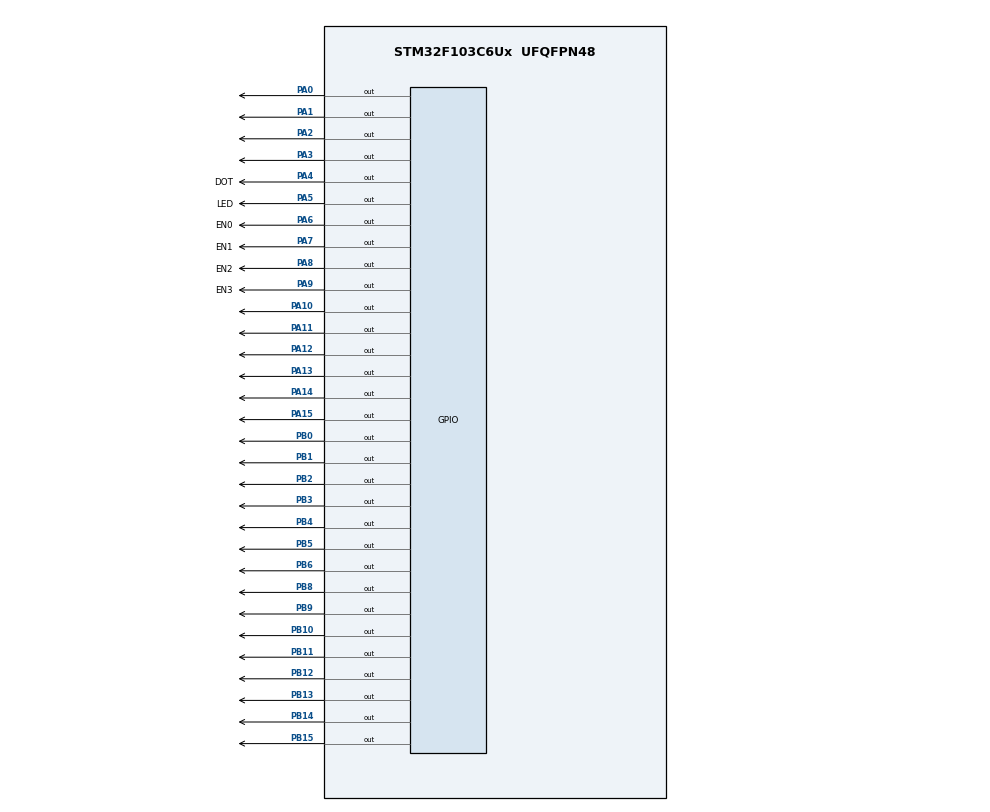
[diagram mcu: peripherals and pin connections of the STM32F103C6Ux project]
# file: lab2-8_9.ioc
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Mcu.Family=STM32F1
Mcu.Name=STM32F103C6Ux
Mcu.Package=UFQFPN48
NVIC.PriorityGroup=NVIC_PRIORITYGROUP_4
NVIC.TIM2_IRQn=true\:0\:0\:false\:false\:true\:true\:true
PA0-WKUP.Signal=GPIO_Output
PA1.Signal=GPIO_Output
PA10.Signal=GPIO_Output
PA11.Signal=GPIO_Output
PA12.Signal=GPIO_Output
PA13.Signal=GPIO_Output
PA14.Signal=GPIO_Output
PA15.Signal=GPIO_Output
PA2.Signal=GPIO_Output
PA3.Signal=GPIO_Output
PA4.GPIO_Label=DOT
PA4.PinState=GPIO_PIN_SET
PA4.Signal=GPIO_Output
PA5.GPIO_Label=LED
PA5.PinState=GPIO_PIN_SET
PA5.Signal=GPIO_Output
PA6.GPIO_Label=EN0
PA6.PinState=GPIO_PIN_SET
PA6.Signal=GPIO_Output
PA7.GPIO_Label=EN1
PA7.PinState=GPIO_PIN_SET
PA7.Signal=GPIO_Output
PA8.GPIO_Label=EN2
PA8.PinState=GPIO_PIN_SET
PA8.Signal=GPIO_Output
PA9.GPIO_Label=EN3
PA9.PinState=GPIO_PIN_SET
PA9.Signal=GPIO_Output
PB0.PinState=GPIO_PIN_SET
PB0.Signal=GPIO_Output
PB1.PinState=GPIO_PIN_SET
PB1.Signal=GPIO_Output
PB10.Signal=GPIO_Output
PB11.Signal=GPIO_Output
PB12.Signal=GPIO_Output
PB13.Signal=GPIO_Output
PB14.Signal=GPIO_Output
PB15.Signal=GPIO_Output
PB2.PinState=GPIO_PIN_SET
PB2.Signal=GPIO_Output
PB3.PinState=GPIO_PIN_SET
PB3.Signal=GPIO_Output
PB4.PinState=GPIO_PIN_SET
PB4.Signal=GPIO_Output
PB5.PinState=GPIO_PIN_SET
PB5.Signal=GPIO_Output
PB6.PinState=GPIO_PIN_SET
PB6.Signal=GPIO_Output
PB8.Signal=GPIO_Output
PB9.Signal=GPIO_Output
ProjectManager.HeapSize=0x200
ProjectManager.StackSize=0x400
ProjectManager.TargetToolchain=STM32CubeIDE
RCC.APB1Freq_Value=8000000
RCC.APB2Freq_Value=8000000
TIM2.Period=9
TIM2.Prescaler=7999
VP_SYS_VS_ND.Mode=No_Debug
VP_TIM2_VS_ClockSourceINT.Mode=Internal
board=custom

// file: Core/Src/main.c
/* USER CODE BEGIN Header */
/**
  ******************************************************************************
  * @file           : main.c
  * @brief          : Lab 2 - Exercises 9 and 10
  ******************************************************************************
  * @attention
  *
  * <h2><center>&copy; Copyright (c) 2026 STMicroelectronics.
  * All rights reserved.</center></h2>
  *
  * This software component is licensed by ST under BSD 3-Clause license,
  * the "License"; You may not use this file except in compliance with the
  * License. You may obtain a copy of the License at:
  *                        opensource.org/licenses/BSD-3-Clause
  *
  ******************************************************************************
  */
/* USER CODE END Header */

#include "main.h"

/* USER CODE BEGIN PTD */

enum
{
  TIMER_CLOCK = 0,
  TIMER_7SEG,
  TIMER_MATRIX,
  TIMER_ANIMATION,
  TIMER_COUNT
};

/* USER CODE END PTD */

/* USER CODE BEGIN PD */

/* 9: static A; 10: circular left scrolling */
#define LAB_TASK              10

#if LAB_TASK != 9 && LAB_TASK != 10
#error "LAB_TASK must be 9 or 10"
#endif

/* TIM2 interrupt period */
#define TIMER_CYCLE_MS        10U

#define CLOCK_PERIOD_MS       1000U
#define SEG_SCAN_PERIOD_MS    250U
#define MATRIX_SCAN_MS        10U
#define ANIMATION_PERIOD_MS   400U

#define MAX_LED               4
#define MAX_LED_MATRIX        8

/* DOT = PA4; separate LED = PA5 */
#define DOT_PIN               GPIO_PIN_4
#define STATUS_LED_PIN        GPIO_PIN_5

/* Seven-segment enables: PA6-PA9 */
#define SEG_ENABLE_PINS       (GPIO_PIN_6 | GPIO_PIN_7 | \
                               GPIO_PIN_8 | GPIO_PIN_9)

/* Seven-segment a-g: PB0-PB6 */
#define SEGMENT_PINS          (GPIO_PIN_0 | GPIO_PIN_1 | \
                               GPIO_PIN_2 | GPIO_PIN_3 | \
                               GPIO_PIN_4 | GPIO_PIN_5 | \
                               GPIO_PIN_6)

/*
 * Matrix controls match the reference schematic:
 * ENM0 = PA2
 * ENM1 = PA3
 * ENM2 = PA10
 * ENM3 = PA11
 * ENM4 = PA12
 * ENM5 = PA13
 * ENM6 = PA14
 * ENM7 = PA15
 */
#define MATRIX_ENABLE_PINS    (GPIO_PIN_2  | GPIO_PIN_3  | \
                               GPIO_PIN_10 | GPIO_PIN_11 | \
                               GPIO_PIN_12 | GPIO_PIN_13 | \
                               GPIO_PIN_14 | GPIO_PIN_15)

/* ROW0-ROW7: PB8-PB15 */
#define MATRIX_ROW_PINS       (GPIO_PIN_8  | GPIO_PIN_9  | \
                               GPIO_PIN_10 | GPIO_PIN_11 | \
                               GPIO_PIN_12 | GPIO_PIN_13 | \
                               GPIO_PIN_14 | GPIO_PIN_15)

/* USER CODE END PD */

TIM_HandleTypeDef htim2;

/* USER CODE BEGIN PV */

/* Shared between main and TIM2 interrupt */
static volatile uint32_t timer_counter[TIMER_COUNT] = {0};
static volatile uint8_t timer_flag[TIMER_COUNT] = {0};

/* Bit 0 = a, ..., bit 6 = g */
static const uint8_t digitPattern[10] =
{
  0x3F, /* 0 */
  0x06, /* 1 */
  0x5B, /* 2 */
  0x4F, /* 3 */
  0x66, /* 4 */
  0x6D, /* 5 */
  0x7D, /* 6 */
  0x07, /* 7 */
  0x7F, /* 8 */
  0x6F  /* 9 */
};

static const uint16_t enablePin[MAX_LED] =
{
  GPIO_PIN_6,
  GPIO_PIN_7,
  GPIO_PIN_8,
  GPIO_PIN_9
};

int led_buffer[MAX_LED] = {1, 5, 0, 8};
int index_led = 0;

int hour = 15;
int minute = 8;
int second = 50;

/* ENM0-ENM7 in schematic order */
static const uint16_t matrixEnablePin[MAX_LED_MATRIX] =
{
  GPIO_PIN_2,
  GPIO_PIN_3,
  GPIO_PIN_10,
  GPIO_PIN_11,
  GPIO_PIN_12,
  GPIO_PIN_13,
  GPIO_PIN_14,
  GPIO_PIN_15
};

/*
 * Letter A stored by COLUMN.
 * Bit 0 = top row (ROW0).
 * COL0 = leftmost column.
 *
 * ...##...
 * ..#..#..
 * .#....#.
 * .#....#.
 * .######.
 * .#....#.
 * .#....#.
 * ........
 *
 * A set bit means the pixel should light.
 */
static const uint8_t letterA[MAX_LED_MATRIX] =
{
  0x00, 0x7C, 0x12, 0x11,
  0x11, 0x12, 0x7C, 0x00
};

uint8_t matrix_buffer[MAX_LED_MATRIX] = {0};
int index_led_matrix = 0;

#if LAB_TASK == 10
static uint8_t animation_offset = 0U;
static uint8_t animation_pending = 0U;
#endif

/* USER CODE END PV */

void SystemClock_Config(void);
static void MX_GPIO_Init(void);
static void MX_TIM2_Init(void);

/* USER CODE BEGIN PFP */

static void setSoftwareTimer(uint8_t id, uint32_t duration_ms);
void timer_run(void);

void display7SEG(int num);
void update7SEG(int index);
void updateClockBuffer(void);
static void advanceClockOneSecond(void);

void updateLEDMatrix(int index);
static void loadMatrixFrame(uint8_t offset);

/* USER CODE END PFP */

/* USER CODE BEGIN 0 */

/* ---------------- Software timers ---------------- */

static void setSoftwareTimer(uint8_t id, uint32_t duration_ms)
{
  if (id >= TIMER_COUNT)
  {
    return;
  }

  uint32_t savedPrimask = __get_PRIMASK();
  __disable_irq();

  timer_counter[id] = duration_ms / TIMER_CYCLE_MS;

  /* Minimum timeout: one hardware timer tick */
  if (timer_counter[id] == 0U)
  {
    timer_counter[id] = 1U;
  }

  timer_flag[id] = 0U;

  __set_PRIMASK(savedPrimask);
}

void timer_run(void)
{
  for (uint8_t i = 0U; i < TIMER_COUNT; i++)
  {
    if (timer_counter[i] > 0U)
    {
      timer_counter[i]--;

      if (timer_counter[i] == 0U)
      {
        timer_flag[i] = 1U;
      }
    }
  }
}

/* ---------------- Seven-segment display ---------------- */

void display7SEG(int num)
{
  /* Common anode: HIGH turns segments OFF */
  HAL_GPIO_WritePin(GPIOB,
                   SEGMENT_PINS,
                   GPIO_PIN_SET);

  if (num < 0 || num > 9)
  {
    return;
  }

  /* LOW turns selected segments ON */
  HAL_GPIO_WritePin(GPIOB,
                   (uint16_t)digitPattern[num],
                   GPIO_PIN_RESET);
}

void update7SEG(int index)
{
  /* Disable all digits before changing data */
  HAL_GPIO_WritePin(GPIOA,
                   SEG_ENABLE_PINS,
                   GPIO_PIN_SET);

  if (index < 0 || index >= MAX_LED)
  {
    return;
  }

  display7SEG(led_buffer[index]);

  /* PNP control: LOW enables the selected digit */
  HAL_GPIO_WritePin(GPIOA,
                   enablePin[index],
                   GPIO_PIN_RESET);
}

void updateClockBuffer(void)
{
  /* Display processing runs entirely in main */
  led_buffer[0] = hour / 10;
  led_buffer[1] = hour % 10;
  led_buffer[2] = minute / 10;
  led_buffer[3] = minute % 10;
}

static void advanceClockOneSecond(void)
{
  second++;

  if (second >= 60)
  {
    second = 0;
    minute++;
  }

  if (minute >= 60)
  {
    minute = 0;
    hour++;
  }

  if (hour >= 24)
  {
    hour = 0;
  }

  updateClockBuffer();
}

/* ---------------- LED matrix ---------------- */

static void loadMatrixFrame(uint8_t offset)
{
  /*
   * Circular left shift:
   * columns leaving the left edge reappear on the right.
   *
   * offset 0: original centered A
   * offset 1: rotate left by one column
   * ...
   * offset 7: rotate left by seven columns
   */
  for (int column = 0; column < MAX_LED_MATRIX; column++)
  {
    int source = (column + offset) % MAX_LED_MATRIX;
    matrix_buffer[column] = letterA[source];
  }
}

void updateLEDMatrix(int index)
{
  /*
   * Matrix polarity:
   * Column HIGH + Row LOW = LED ON.
   *
   * ULN2803 column control:
   * MCU HIGH -> output LOW -> column disabled.
   * MCU LOW  -> output released -> external pull-up
   *             raises the column -> column enabled.
   */

  /* Disable every column before changing row data */
  HAL_GPIO_WritePin(GPIOA,
                   MATRIX_ENABLE_PINS,
                   GPIO_PIN_SET);

  /* All rows inactive */
  HAL_GPIO_WritePin(GPIOB,
                   MATRIX_ROW_PINS,
                   GPIO_PIN_SET);

  if (index < 0 || index >= MAX_LED_MATRIX)
  {
    return;
  }

  /* Map buffer bits 0-7 to PB8-PB15 */
  uint16_t rowData =
      (uint16_t)((uint16_t)matrix_buffer[index] << 8);

  /* Pull rows for illuminated pixels LOW */
  if (rowData != 0U)
  {
    HAL_GPIO_WritePin(GPIOB,
                     rowData,
                     GPIO_PIN_RESET);
  }

  /* Enable only this column */
  HAL_GPIO_WritePin(GPIOA,
                   matrixEnablePin[index],
                   GPIO_PIN_RESET);
}

/* USER CODE END 0 */

int main(void)
{

  /* MCU Configuration--------------------------------------------------------*/

  HAL_Init();

  SystemClock_Config();

  /* USER CODE BEGIN SysInit */

  /*
   * Release PA13, PA14, PA15, PB3 and PB4.
   * The reference schematic uses PA13/PA14 for the matrix,
   * so both JTAG and SWD must be disabled.
   */
  __HAL_RCC_AFIO_CLK_ENABLE();
  __HAL_AFIO_REMAP_SWJ_DISABLE();

  /* USER CODE END SysInit */

  /* Initialize all configured peripherals */
  MX_GPIO_Init();
  MX_TIM2_Init();

  /* USER CODE BEGIN 2 */

  /* Initially disable seven-segment digits and DOT */
  HAL_GPIO_WritePin(GPIOA,
                   SEG_ENABLE_PINS | DOT_PIN,
                   GPIO_PIN_SET);

  /* Turn D1 ON to indicate that initialization is complete */
  HAL_GPIO_WritePin(GPIOA,
                   STATUS_LED_PIN,
                   GPIO_PIN_RESET);

  HAL_GPIO_WritePin(GPIOB,
                   SEGMENT_PINS,
                   GPIO_PIN_SET);

  /* Initially disable matrix columns and rows */
  HAL_GPIO_WritePin(GPIOA,
                   MATRIX_ENABLE_PINS,
                   GPIO_PIN_SET);

  HAL_GPIO_WritePin(GPIOB,
                   MATRIX_ROW_PINS,
                   GPIO_PIN_SET);

  updateClockBuffer();

  /* Start with the complete A centered */
  loadMatrixFrame(0U);

  update7SEG(0);
  index_led = 1;

  updateLEDMatrix(0);
  index_led_matrix = 1;

  setSoftwareTimer(TIMER_CLOCK, CLOCK_PERIOD_MS);
  setSoftwareTimer(TIMER_7SEG, SEG_SCAN_PERIOD_MS);
  setSoftwareTimer(TIMER_MATRIX, MATRIX_SCAN_MS);

#if LAB_TASK == 10
  setSoftwareTimer(TIMER_ANIMATION, ANIMATION_PERIOD_MS);
#endif

  /* Clear any pending update event before starting TIM2 */
  __HAL_TIM_SET_COUNTER(&htim2, 0U);
  __HAL_TIM_CLEAR_FLAG(&htim2, TIM_FLAG_UPDATE);

  if (HAL_TIM_Base_Start_IT(&htim2) != HAL_OK)
  {
    Error_Handler();
  }

  /* USER CODE END 2 */

  /* Infinite loop */
  while (1)
  {

    /* USER CODE BEGIN 3 */

    /* Clock and DOT event */
    if (timer_flag[TIMER_CLOCK] == 1U)
    {
      setSoftwareTimer(TIMER_CLOCK, CLOCK_PERIOD_MS);

      advanceClockOneSecond();
      HAL_GPIO_TogglePin(GPIOA, DOT_PIN);
    }

    /* Seven-segment scanning event */
    if (timer_flag[TIMER_7SEG] == 1U)
    {
      setSoftwareTimer(TIMER_7SEG, SEG_SCAN_PERIOD_MS);

      update7SEG(index_led);
      index_led = (index_led + 1) % MAX_LED;
    }

#if LAB_TASK == 10
    /* Request the next circular scrolling frame */
    if (timer_flag[TIMER_ANIMATION] == 1U)
    {
      setSoftwareTimer(TIMER_ANIMATION, ANIMATION_PERIOD_MS);
      animation_pending = 1U;
    }
#endif

    /* Matrix scanning event */
    if (timer_flag[TIMER_MATRIX] == 1U)
    {
      setSoftwareTimer(TIMER_MATRIX, MATRIX_SCAN_MS);

#if LAB_TASK == 10
      /*
       * Apply a new frame before scanning column 0.
       * All eight columns in a scan then use the same frame.
       */
      if (index_led_matrix == 0 && animation_pending == 1U)
      {
        animation_pending = 0U;

        animation_offset =
            (animation_offset + 1U) % MAX_LED_MATRIX;

        loadMatrixFrame(animation_offset);
      }
#endif

      updateLEDMatrix(index_led_matrix);

      index_led_matrix =
          (index_led_matrix + 1) % MAX_LED_MATRIX;
    }
  }
  /* USER CODE END 3 */
}

void SystemClock_Config(void)
{
  RCC_OscInitTypeDef RCC_OscInitStruct = {0};
  RCC_ClkInitTypeDef RCC_ClkInitStruct = {0};

  /** Initializes the RCC Oscillators
  */
  RCC_OscInitStruct.OscillatorType = RCC_OSCILLATORTYPE_HSI;
  RCC_OscInitStruct.HSIState = RCC_HSI_ON;
  RCC_OscInitStruct.HSICalibrationValue =
      RCC_HSICALIBRATION_DEFAULT;
  RCC_OscInitStruct.PLL.PLLState = RCC_PLL_NONE;

  if (HAL_RCC_OscConfig(&RCC_OscInitStruct) != HAL_OK)
  {
    Error_Handler();
  }

  /** Initializes the CPU, AHB and APB buses clocks
  */
  RCC_ClkInitStruct.ClockType =
      RCC_CLOCKTYPE_HCLK |
      RCC_CLOCKTYPE_SYSCLK |
      RCC_CLOCKTYPE_PCLK1 |
      RCC_CLOCKTYPE_PCLK2;

  RCC_ClkInitStruct.SYSCLKSource = RCC_SYSCLKSOURCE_HSI;
  RCC_ClkInitStruct.AHBCLKDivider = RCC_SYSCLK_DIV1;
  RCC_ClkInitStruct.APB1CLKDivider = RCC_HCLK_DIV1;
  RCC_ClkInitStruct.APB2CLKDivider = RCC_HCLK_DIV1;

  if (HAL_RCC_ClockConfig(&RCC_ClkInitStruct,
                         FLASH_LATENCY_0) != HAL_OK)
  {
    Error_Handler();
  }
}

static void MX_TIM2_Init(void)
{

  TIM_ClockConfigTypeDef sClockSourceConfig = {0};
  TIM_MasterConfigTypeDef sMasterConfig = {0};

  /* 8 MHz / (7999 + 1) / (9 + 1) = 100 Hz */
  htim2.Instance = TIM2;
  htim2.Init.Prescaler = 7999;
  htim2.Init.CounterMode = TIM_COUNTERMODE_UP;
  htim2.Init.Period = 9;
  htim2.Init.ClockDivision = TIM_CLOCKDIVISION_DIV1;
  htim2.Init.AutoReloadPreload = TIM_AUTORELOAD_PRELOAD_DISABLE;

  if (HAL_TIM_Base_Init(&htim2) != HAL_OK)
  {
    Error_Handler();
  }

  sClockSourceConfig.ClockSource = TIM_CLOCKSOURCE_INTERNAL;

  if (HAL_TIM_ConfigClockSource(&htim2,
                               &sClockSourceConfig) != HAL_OK)
  {
    Error_Handler();
  }

  sMasterConfig.MasterOutputTrigger = TIM_TRGO_RESET;
  sMasterConfig.MasterSlaveMode = TIM_MASTERSLAVEMODE_DISABLE;

  if (HAL_TIMEx_MasterConfigSynchronization(
          &htim2, &sMasterConfig) != HAL_OK)
  {
    Error_Handler();
  }

}

static void MX_GPIO_Init(void)
{
  GPIO_InitTypeDef GPIO_InitStruct = {0};

  /* GPIO Ports Clock Enable */
  __HAL_RCC_GPIOA_CLK_ENABLE();
  __HAL_RCC_GPIOB_CLK_ENABLE();

  /*
   * Initial OFF levels:
   * Seven-segment enables, DOT and LED: HIGH.
   * Matrix controls: HIGH -> ULN2803 pulls columns LOW.
   * Seven-segment cathodes and matrix rows: HIGH.
   */
  HAL_GPIO_WritePin(GPIOA,
                   SEG_ENABLE_PINS |
                   DOT_PIN |
                   STATUS_LED_PIN |
                   MATRIX_ENABLE_PINS,
                   GPIO_PIN_SET);

  HAL_GPIO_WritePin(GPIOB,
                   SEGMENT_PINS | MATRIX_ROW_PINS,
                   GPIO_PIN_SET);

  /*
   * GPIOA:
   * PA2, PA3, PA10-PA15: matrix controls.
   * PA4: DOT.
   * PA5: separate LED.
   * PA6-PA9: seven-segment enables.
   */
  GPIO_InitStruct.Pin =
      SEG_ENABLE_PINS |
      DOT_PIN |
      STATUS_LED_PIN |
      MATRIX_ENABLE_PINS;

  GPIO_InitStruct.Mode = GPIO_MODE_OUTPUT_PP;
  GPIO_InitStruct.Pull = GPIO_NOPULL;
  GPIO_InitStruct.Speed = GPIO_SPEED_FREQ_LOW;
  HAL_GPIO_Init(GPIOA, &GPIO_InitStruct);

  /*
   * GPIOB:
   * PB0-PB6: seven-segment data.
   * PB8-PB15: matrix rows.
   */
  GPIO_InitStruct.Pin = SEGMENT_PINS | MATRIX_ROW_PINS;
  GPIO_InitStruct.Mode = GPIO_MODE_OUTPUT_PP;
  GPIO_InitStruct.Pull = GPIO_NOPULL;
  GPIO_InitStruct.Speed = GPIO_SPEED_FREQ_LOW;
  HAL_GPIO_Init(GPIOB, &GPIO_InitStruct);
}

/* USER CODE BEGIN 4 */

void HAL_TIM_PeriodElapsedCallback(TIM_HandleTypeDef *htim)
{
  if (htim->Instance == TIM2)
  {
    /* The interrupt only maintains software timers */
    timer_run();
  }
}

/* USER CODE END 4 */

void Error_Handler(void)
{
  __disable_irq();
  while (1)
  {
  }
}

#ifdef USE_FULL_ASSERT
/**
  * @brief  Reports the source file and line of an assert error.
  * @param  file: pointer to the source file name
  * @param  line: assert error line source number
  * @retval None
  */
void assert_failed(uint8_t *file, uint32_t line)
{
  /* USER CODE BEGIN 6 */

  (void)file;
  (void)line;

  /* USER CODE END 6 */
}
#endif /* USE_FULL_ASSERT */

/************************ (C) COPYRIGHT STMicroelectronics *****END OF FILE****/
